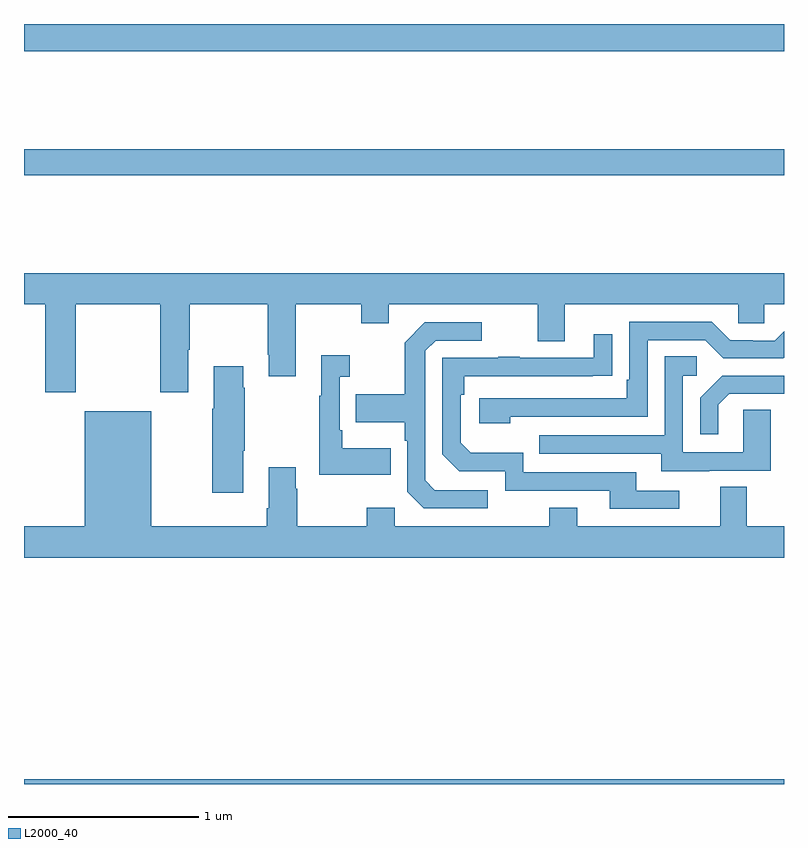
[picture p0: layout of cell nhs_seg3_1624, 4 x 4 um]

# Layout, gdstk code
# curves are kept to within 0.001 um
import gdstk
lib = gdstk.Library(unit=1e-6, precision=1e-09)
def R(c, l, rs):  # rectangles x0, y0, x1, y1
    for r in rs: c.add(gdstk.rectangle(r[:2], r[2:], *l))
def P(c, l, *ps):  # polygons
    for p in ps: c.add(gdstk.Polygon(p, *l))
L2000_40 = (2000, 40)

nhs_seg3_1624 = lib.new_cell('nhs_seg3_1624')
R(nhs_seg3_1624, L2000_40, [(195,690.4,199,690.424), (195,693.604,199,693.74), (195,694.256,199,694.4)])
P(nhs_seg3_1624, L2000_40, [(195.273,692.924),(195.718,692.924),(195.718,692.463),(195.865,692.463),(195.865,692.686),(195.873,692.686),(195.873,692.924),(196.282,692.924),(196.282,692.659),(196.289,692.659),(196.289,692.547),(196.429,692.547),(196.429,692.924),(196.774,692.924),(196.774,692.825),(196.921,692.825),(196.921,692.924),(197.705,692.924),(197.705,692.73),(197.845,692.73),(197.845,692.924),(198.759,692.924),(198.759,692.826),(198.897,692.826),(198.897,692.924),(199,692.924),(199,693.088),(195,693.088),(195,692.924),(195.113,692.924),(195.113,692.463),(195.273,692.463)],
  [(197.558,692.334),(198.282,692.334),(198.282,692.736),(198.585,692.736),(198.681,692.64),(198.996,692.64),(199,692.644),(199,692.782),(198.951,692.733),(198.836,692.733),(198.836,692.736),(198.717,692.736),(198.621,692.832),(198.186,692.832),(198.186,692.527),(198.173,692.527),(198.173,692.43),(197.397,692.43),(197.397,692.3),(197.558,692.3)],
  [(197.44,691.947),(197.163,691.947),(197.112,691.998),(197.112,692.679),(197.166,692.733),(197.41,692.733),(197.41,692.829),(197.109,692.829),(197.004,692.723),(197.004,692.451),(196.747,692.451),(196.747,692.303),(197.004,692.303),(197.004,692.207),(197.016,692.207),(197.016,691.938),(197.103,691.851),(197.44,691.851)],
  [(198.448,691.944),(198.223,691.944),(198.223,692.04),(197.628,692.04),(197.628,692.143),(197.351,692.143),(197.298,692.196),(197.298,692.45),(197.318,692.45),(197.318,692.547),(198.095,692.548),(198.095,692.767),(197.999,692.767),(197.999,692.643),(197.609,692.643),(197.609,692.648),(197.497,692.648),(197.497,692.643),(197.202,692.643),(197.202,692.136),(197.292,692.046),(197.532,692.046),(197.532,691.944),(198.083,691.944),(198.083,691.848),(198.448,691.848)],
  [(196.931,692.167),(196.675,692.167),(196.675,692.263),(196.662,692.263),(196.662,692.543),(196.714,692.543),(196.714,692.656),(196.565,692.656),(196.565,692.443),(196.554,692.443),(196.554,692.027),(196.931,692.027)],
  [(198.607,692.049),(198.931,692.049),(198.931,692.369),(198.786,692.369),(198.786,692.145),(198.468,692.145),(198.468,692.55),(198.541,692.55),(198.541,692.651),(198.372,692.651),(198.372,692.235),(197.713,692.235),(197.713,692.139),(198.353,692.139),(198.353,692.045),(198.607,692.045)],
  [(196.153,692.155),(196.161,692.155),(196.161,692.486),(196.153,692.486),(196.153,692.599),(195.998,692.599),(195.998,692.375),(195.991,692.375),(195.991,691.932),(196.153,691.932)],
  [(198.655,692.397),(198.712,692.454),(199,692.454),(199,692.55),(198.674,692.55),(198.558,692.434),(198.558,692.241),(198.655,692.241)],
  [(199,691.756),(198.805,691.756),(198.805,691.964),(198.665,691.964),(198.665,691.756),(197.911,691.756),(197.911,691.855),(197.764,691.855),(197.764,691.756),(196.95,691.756),(196.95,691.855),(196.804,691.855),(196.804,691.756),(196.437,691.756),(196.437,691.955),(196.429,691.955),(196.429,692.068),(196.289,692.068),(196.289,691.852),(196.277,691.852),(196.277,691.756),(195.67,691.756),(195.67,692.362),(195.32,692.362),(195.32,691.756),(195,691.756),(195,691.592),(199,691.592)])

lib.write_gds('nhs_seg3_1624.gds')
